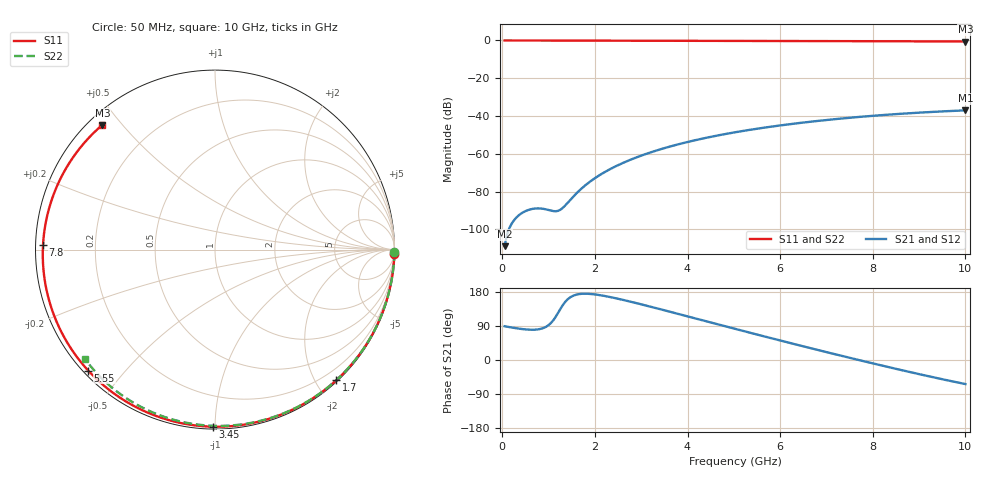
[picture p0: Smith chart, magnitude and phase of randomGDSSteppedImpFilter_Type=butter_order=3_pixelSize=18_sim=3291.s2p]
! freq	dB(S11)	phase(S11)	dB(S12)	phase(S12)
!  dB(S21)	phase(S21)	dB(S22)	phase(S22)
!S-par simulation data
#  GHz  S  DB  R 50
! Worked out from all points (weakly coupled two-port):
!   200 points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, 50 MHz to 10 GHz, reference 50 ohm
!   highest |S21| = -37.02 dB at 10 GHz (marker M1); lowest = -108.9 dB at 50 MHz (marker M2)
!   lowest |S11| = -0.6 dB at 10 GHz (marker M3), VSWR 30.37, Z = 1.97 + j22.2 ohm
!   |S11| at or under -10 dB: nowhere
!   |S22| runs from -0.5 to 0.0 dB; largest |S21 - S12| = 0
!   S11 on the Smith chart (normalised r, x): 50 MHz: 0, -80; 1.7 GHz: 0.02, -2.29; 3.45 GHz: 0.01, -0.99; 5.55 GHz: 0.01, -0.40; 7.8 GHz: 0.02, +0.01; 10 GHz: 0.04, +0.44
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0.05  -0.00 -1.4  -108.95 89.1  -108.95 89.1  -0.00 -0.8
0.45  -0.02 -12.7  -91.01 81.3  -91.01 81.3  -0.01 -7.2
0.85  -0.03 -23.9  -89.05 82.9  -89.05 82.9  -0.02 -13.6
1.6  -0.06 -44.4  -81.00 172.5  -81.00 172.5  -0.03 -25.4
1.65  -0.06 -45.8  -79.80 173.7  -79.80 173.7  -0.03 -26.2
1.7  -0.06 -47.1  -78.67 174.5  -78.67 174.5  -0.03 -26.9
1.75  -0.06 -48.4  -77.59 174.9  -77.59 174.9  -0.04 -27.7
2.05  -0.07 -56.3  -72.13 172.2  -72.13 172.2  -0.04 -32.4
2.45  -0.08 -66.5  -66.64 163.0  -66.64 163.0  -0.05 -38.5
2.9  -0.10 -77.7  -61.90 150.0  -61.90 150.0  -0.06 -45.3
3.4  -0.11 -89.6  -57.75 134.4  -57.75 134.4  -0.07 -52.7
3.45  -0.11 -90.8  -57.38 132.8  -57.38 132.8  -0.07 -53.5
4.2  -0.14 -107.8  -52.63 108.7  -52.63 108.7  -0.09 -64.3
5.05  -0.18 -126.0  -48.53 81.5  -48.53 81.5  -0.12 -76.2
5.55  -0.21 -136.4  -46.56 65.6  -46.56 65.6  -0.14 -83.0
6.15  -0.24 -148.5  -44.53 46.8  -44.53 46.8  -0.16 -91.0
6.7  -0.28 -159.5  -42.92 29.9  -42.92 29.9  -0.19 -98.2
7.25  -0.32 -170.4  -41.52 13.3  -41.52 13.3  -0.22 -105.3
7.8  -0.37 178.6  -40.31 -3.1  -40.31 -3.1  -0.26 -112.2
8.35  -0.42 167.4  -39.26 -19.0  -39.26 -19.0  -0.30 -119.1
9.15  -0.49 150.7  -38.02 -41.4  -38.02 -41.4  -0.38 -129.1
10  -0.57 132.1  -37.02 -63.5  -37.02 -63.5  -0.48 -139.9
